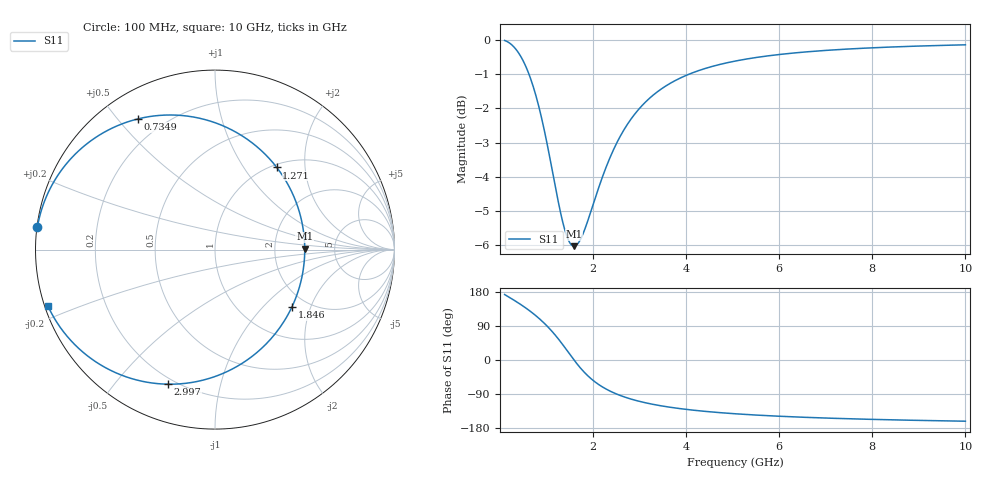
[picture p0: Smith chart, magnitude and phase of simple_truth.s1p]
# GHz S RI R 50
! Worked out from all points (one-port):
!   500 points, 100 MHz to 10 GHz, reference 50 ohm
!   lowest |S11| = -6.0 dB at 1.588 GHz (marker M1), VSWR 3.00, Z = 150 + j2.02 ohm
!   |S11| at or under -10 dB: nowhere
!   S11 on the Smith chart (normalised r, x): 100 MHz: 0.00, +0.06; 734.9 MHz: 0.11, +0.57; 1.271 GHz: 1.05, +1.43; 1.846 GHz: 1.67, -1.49; 2.997 GHz: 0.17, -0.70; 10 GHz: 0.01, -0.16
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0.1  -0.9895 0.1253
0.1396794  -0.9794 0.1745
0.2587174  -0.9292 0.3182
0.4174349  -0.8146 0.4937
0.595992  -0.6217 0.6514
0.7348697  -0.4304 0.728
0.8737475  -0.215 0.7492
0.9927856  -0.0256 0.7157
1.131663  0.1793 0.615
1.270541  0.3439 0.458
1.3499  0.413 0.3506
1.468938  0.4786 0.178
1.587976  0.5 0.00506
1.707014  0.4836 -0.156
1.845892  0.4288 -0.3189
2.004609  0.337 -0.4669
2.183166  0.2172 -0.5867
2.361723  0.0956 -0.6656
2.57996  -0.0429 -0.7208
2.996593  -0.2603 -0.7499
3.393387  -0.4131 -0.732
3.82986  -0.5355 -0.6935
4.385371  -0.6445 -0.6378
5.05992  -0.7329 -0.5738
6.28998  -0.8275 -0.4785
7.53988  -0.8802 -0.4066
8.76994  -0.9116 -0.3532
10  -0.9321 -0.3118
